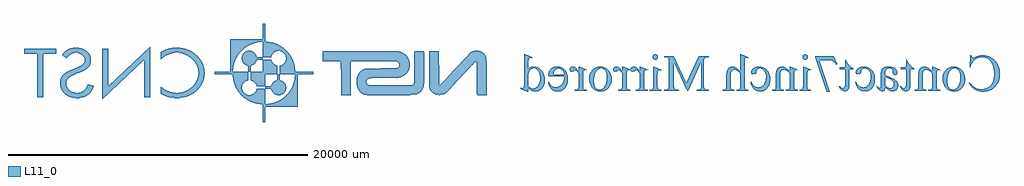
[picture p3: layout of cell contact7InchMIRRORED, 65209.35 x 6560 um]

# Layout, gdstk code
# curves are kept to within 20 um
import gdstk
lib = gdstk.Library(unit=1e-6, precision=1e-09)
def P(c, l, *ps):  # polygons
    for p in ps: c.add(gdstk.Polygon(p, *l))
L11_0 = (11, 0)

contact7inchmirrored = lib.new_cell('contact7InchMIRRORED')
P(contact7inchmirrored, L11_0, [(-12388.82,-83900),(-12388.82,-83838.469),(-12200.401,-83791.371),(-12128.066,-83671.93),(-12115.383,-82784.031),(-12308.914,-82527.684),(-12361.31,-82522.826),(-12521.906,-82622.322),(-12615.042,-82634.179),(-12710.746,-82566.569),(-12731.897,-82441.646),(-12623.509,-82310.785),(-12441.513,-82300.799),(-12264.223,-82425.946),(-12115.383,-82640.484),(-12115.383,-82288.422),(-12043.602,-82288.422),(-11570.211,-82479.828),(-11587.305,-82541.359),(-11706.93,-82515.719),(-11795.052,-82553.375),(-11832.704,-82818.379),(-11824.852,-83713.719),(-11749.551,-83809.686),(-11587.305,-83838.469),(-11587.305,-83900)],
  [(-10654.195,-83947.859),(-10861.199,-83920.514),(-11066.638,-83826.516),(-10597.251,-83802.316),(-10462.99,-83709.389),(-10353.197,-83547.368),(-10259.793,-83270.191),(-10234.67,-82937.334),(-10276.963,-82677.143),(-10374.358,-82505.132),(-10574.672,-82402.88),(-10791.34,-82440.531),(-10951.067,-82594.179),(-11063.926,-82847.266),(-11108.789,-83219.828),(-11066.73,-83559.621),(-11014.156,-83671.939),(-10928.149,-83761.895),(-10727.68,-83826.516),(-11066.638,-83826.516),(-11170.079,-83741.541),(-11349.452,-83460.014),(-11425.073,-83140.865),(-11391.648,-82839.628),(-11243.789,-82558.453),(-11028.553,-82373.861),(-10716.878,-82289.477),(-10437.471,-82328.144),(-10182.609,-82481.995),(-9997.692,-82757.794),(-9917.583,-83078.876),(-9959.922,-83413.793),(-10118.573,-83700.022),(-10372.458,-83893.886)],
  [(-9472.82,-83900),(-9472.82,-83838.469),(-9284.401,-83791.371),(-9212.066,-83671.93),(-9199.383,-82784.031),(-9392.914,-82527.684),(-9445.31,-82522.826),(-9605.906,-82622.322),(-9699.042,-82634.179),(-9794.746,-82566.569),(-9815.897,-82441.646),(-9707.509,-82310.785),(-9525.513,-82300.799),(-9348.223,-82425.946),(-9199.383,-82640.484),(-9199.383,-82288.422),(-9127.602,-82288.422),(-8654.211,-82479.828),(-8671.305,-82541.359),(-8790.93,-82515.719),(-8879.052,-82553.375),(-8916.704,-82818.379),(-8908.852,-83713.719),(-8833.551,-83809.686),(-8671.305,-83838.469),(-8671.305,-83900)],
  [(-8306.82,-83900),(-8306.82,-83838.469),(-8118.401,-83791.371),(-8046.066,-83671.93),(-8033.383,-82784.031),(-8226.914,-82527.684),(-8279.31,-82522.826),(-8439.906,-82622.322),(-8533.042,-82634.179),(-8628.746,-82566.569),(-8649.897,-82441.646),(-8541.509,-82310.785),(-8359.513,-82300.799),(-8182.223,-82425.946),(-8033.383,-82640.484),(-8033.383,-82288.422),(-7961.602,-82288.422),(-7488.211,-82479.828),(-7505.305,-82541.359),(-7624.93,-82515.719),(-7713.052,-82553.375),(-7750.704,-82818.379),(-7742.852,-83713.719),(-7667.551,-83809.686),(-7505.305,-83838.469),(-7505.305,-83900)],
  [(-7380.961,-83900),(-7380.961,-83838.469),(-7228,-83814.547),(-7155.429,-83711.428),(-7143.414,-82288.422),(-7068.211,-82288.422),(-6596.539,-82479.828),(-6620.461,-82541.359),(-6736.664,-82515.719),(-6818.697,-82549.852),(-6858.75,-82826.864),(-6846.734,-83711.262),(-6774.266,-83816.258),(-6620.461,-83838.469),(-6620.461,-83900)],
  [(13.289,-83947.859),(-226.134,-83895.136),(-417.754,-83759.84),(-549.393,-83578.92),(-642.961,-83305.266),(-593.398,-83281.344),(-480.309,-83489.767),(-376.681,-83593.586),(-151.095,-83679.461),(1.277,-83667.845),(123.095,-83613.388),(308.706,-83384.031),(386.089,-83140.765),(390.872,-82841.174),(321.661,-82619.861),(189.436,-82462.698),(27.63,-82404.898),(-147.03,-82431.768),(-227.029,-82519.139),(-280.534,-82734.735),(-370.935,-82800.538),(-506.455,-82799.631),(-588.057,-82723.15),(-584.004,-82583.078),(-484.691,-82441.313),(-326.797,-82336.154),(-154.081,-82292.718),(147.887,-82320.867),(400.496,-82465.066),(590.598,-82711.645),(668.662,-82985.439),(648.505,-83382.713),(524.604,-83665.549),(291.593,-83877.021)],
  [(811.383,-83900),(811.383,-83838.469),(966.047,-83814.547),(1037.192,-83715.433),(1060.047,-82693.457),(1117.936,-82495.267),(1212.734,-82369.825),(1393.836,-82292.427),(1582.033,-82309.144),(1777.577,-82417.932),(1980.336,-82619.969),(1980.336,-82288.422),(2053.82,-82288.422),(2525.492,-82479.828),(2499.867,-82541.359),(2385.367,-82515.719),(2302.046,-82551.503),(2263.121,-82837.974),(2278.675,-83716.804),(2346.523,-83814.772),(2499.867,-83838.469),(2499.867,-83900),(1725.695,-83900),(1725.695,-83838.469),(1895.734,-83815.398),(1969.763,-83716.385),(1980.336,-82720.797),(1778.25,-82554.168),(1575.305,-82498.625),(1420.695,-82552.941),(1354.328,-82684.071),(1333.06,-83606.906),(1379.999,-83786.512),(1460.16,-83830.139),(1585.555,-83838.469),(1585.555,-83900)],
  [(2631.039,-83900),(2631.039,-83838.469),(2784,-83814.547),(2856.571,-83711.428),(2868.586,-82288.422),(2943.789,-82288.422),(3415.461,-82479.828),(3391.539,-82541.359),(3275.336,-82515.719),(3193.303,-82549.852),(3153.25,-82826.864),(3165.266,-83711.262),(3237.734,-83816.258),(3391.539,-83838.469),(3391.539,-83900)],
  [(7010.289,-83947.859),(6770.866,-83895.136),(6579.246,-83759.84),(6447.607,-83578.92),(6354.039,-83305.266),(6403.602,-83281.344),(6516.691,-83489.767),(6620.319,-83593.586),(6845.905,-83679.461),(6998.277,-83667.845),(7120.095,-83613.388),(7305.706,-83384.031),(7383.089,-83140.765),(7387.872,-82841.174),(7318.661,-82619.861),(7186.436,-82462.698),(7024.63,-82404.898),(6849.97,-82431.768),(6769.971,-82519.139),(6716.466,-82734.735),(6626.065,-82800.538),(6490.545,-82799.631),(6408.943,-82723.15),(6412.996,-82583.078),(6512.309,-82441.313),(6670.203,-82336.154),(6842.919,-82292.718),(7144.887,-82320.867),(7397.496,-82465.066),(7587.598,-82711.645),(7665.662,-82985.439),(7645.505,-83382.713),(7521.604,-83665.549),(7288.593,-83877.021)],
  [(8848.695,-83932.469),(8652.164,-83889.75),(8428.131,-83734.234),(8715.04,-83732.966),(8841.936,-83672.081),(8929.555,-83507.735),(8901.462,-83311.367),(8715.466,-83131.064),(8349.664,-82966.891),(8349.664,-83563.328),(8541.074,-83691.508),(8691.461,-83734.234),(8428.131,-83734.234),(8349.664,-83674.406),(8298.398,-83872.656),(8223.097,-83922.594),(8143.246,-83929.764),(7963.591,-83849.652),(7799.383,-83674.406),(7799.383,-83578.703),(7948.482,-83708.698),(8009.793,-83711.15),(8047.822,-83672.918),(8084.985,-82570.621),(8159.547,-82426.426),(8318.481,-82327.841),(8588.93,-82288.422),(8856.224,-82327.355),(9046.287,-82442.604),(9146.743,-82591.972),(9145.744,-82764.936),(9087.911,-82829.907),(9017.883,-82847.266),(8946.388,-82830.576),(8895.209,-82780.933),(8859.805,-82513.16),(8736.758,-82407.199),(8605.789,-82394.034),(8489.258,-82426.717),(8415.005,-82491.297),(8368.25,-82603.73),(8349.664,-82862.641),(8968.203,-83138.012),(9128.483,-83273.659),(9201.226,-83398.036),(9219.615,-83573.347),(9162.134,-83761.461),(9029.268,-83889.076)],
  [(10333.383,-83900),(10333.383,-83838.469),(10488.047,-83814.547),(10559.192,-83715.433),(10582.047,-82693.457),(10639.936,-82495.267),(10734.734,-82369.825),(10915.836,-82292.427),(11104.033,-82309.144),(11299.577,-82417.932),(11502.336,-82619.969),(11502.336,-82288.422),(11575.82,-82288.422),(12047.492,-82479.828),(12021.867,-82541.359),(11907.367,-82515.719),(11824.046,-82551.503),(11785.121,-82837.974),(11800.675,-83716.804),(11868.523,-83814.772),(12021.867,-83838.469),(12021.867,-83900),(11247.695,-83900),(11247.695,-83838.469),(11417.734,-83815.398),(11491.763,-83716.385),(11502.336,-82720.797),(11300.25,-82554.168),(11097.305,-82498.625),(10942.695,-82552.941),(10876.328,-82684.071),(10855.06,-83606.906),(10901.999,-83786.512),(10982.16,-83830.139),(11107.555,-83838.469),(11107.555,-83900)],
  [(12961.805,-83947.859),(12754.801,-83920.514),(12549.362,-83826.516),(13018.749,-83802.316),(13153.01,-83709.389),(13262.803,-83547.368),(13356.207,-83270.191),(13381.33,-82937.334),(13339.037,-82677.143),(13241.642,-82505.132),(13041.328,-82402.88),(12824.66,-82440.531),(12664.933,-82594.179),(12552.074,-82847.266),(12507.211,-83219.828),(12549.27,-83559.621),(12601.844,-83671.939),(12687.851,-83761.895),(12888.32,-83826.516),(12549.362,-83826.516),(12445.921,-83741.541),(12266.548,-83460.014),(12190.927,-83140.865),(12224.352,-82839.628),(12372.211,-82558.453),(12587.447,-82373.861),(12899.122,-82289.477),(13178.529,-82328.144),(13433.391,-82481.995),(13618.308,-82757.794),(13698.417,-83078.876),(13656.078,-83413.793),(13497.427,-83700.022),(13243.542,-83893.886)],
  [(-13527.477,-83947.859),(-13738.088,-83911.059),(-13937.928,-83778.876),(-14084.703,-83579.349),(-14168.336,-83329.203),(-14115.367,-83295.016),(-14029.275,-83469.973),(-13895.773,-83604.514),(-13657.352,-83669.281),(-13518.995,-83649.922),(-13392.323,-83591.846),(-13277.337,-83495.052),(-13181.078,-83362.523),(-13109.541,-83164.494),(-13086.555,-82924.172),(-14168.336,-82924.172),(-14162.942,-82825.047),(-13086.555,-82825.047),(-13128.637,-82650.092),(-13217.289,-82518.289),(-13336.703,-82435.619),(-13471.07,-82408.062),(-13605.172,-82438.824),(-13722.084,-82527.691),(-13787.771,-82649.453),(-13811.164,-82825.047),(-14162.942,-82825.047),(-14102.247,-82606.738),(-13977.633,-82439.175),(-13806.461,-82330.084),(-13599.305,-82287.396),(-13282.018,-82342.902),(-13049.812,-82511.453),(-12895.365,-82780.406),(-12844.687,-83088.287),(-12882.318,-83433.338),(-13020.371,-83700.208),(-13265.787,-83892.957)],
  [(5657.242,-83925.641),(5514.656,-83892.593),(5405.094,-83818.594),(5262.461,-83588.969),(5329.117,-83588.969),(5398.276,-83683.081),(5506.479,-83726.843),(5596.292,-83706.697),(5659.016,-83620.741),(5676.039,-82454.203),(5310.32,-82454.203),(5310.32,-82334.562),(5676.039,-82334.562),(5676.039,-81820.172),(5729.023,-81820.172),(5899.082,-82145.317),(6038.07,-82292.1),(6205.82,-82397.797),(6205.82,-82454.203),(5958.023,-82454.203),(5944.004,-83684.041),(5846.188,-83857.913)],
  [(9735.242,-83925.641),(9592.656,-83892.593),(9483.094,-83818.594),(9340.461,-83588.969),(9407.117,-83588.969),(9476.276,-83683.081),(9584.479,-83726.843),(9674.292,-83706.697),(9737.016,-83620.741),(9754.039,-82454.203),(9388.32,-82454.203),(9388.32,-82334.562),(9754.039,-82334.562),(9754.039,-81820.172),(9807.023,-81820.172),(9977.082,-82145.317),(10116.07,-82292.1),(10283.82,-82397.797),(10283.82,-82454.203),(10036.023,-82454.203),(10022.004,-83684.041),(9924.188,-83857.913)],
  [(-6420.57,-83900),(-6420.57,-83836.766),(-6248.037,-83826.671),(-6140.289,-83764.984),(-6092.445,-83498.391),(-6101.844,-81824.441),(-6166.251,-81695.836),(-6271.353,-81651.398),(-6420.57,-81645.844),(-6420.57,-81582.609),(-5764.32,-81582.609),(-4937.164,-83395.844),(-4096.352,-81582.609),(-3440.102,-81582.609),(-3440.102,-81645.844),(-3609.128,-81664.591),(-3719.568,-81738.296),(-3768.227,-81984.234),(-3758.828,-83658.184),(-3694.527,-83786.782),(-3590.277,-83831.212),(-3440.102,-83836.766),(-3440.102,-83900),(-4246.742,-83900),(-4246.742,-83836.766),(-4000.968,-83796.389),(-3930.152,-83671.852),(-3918.617,-81950.047),(-4814.117,-83900),(-4870.523,-83900),(-5764.32,-81950.047),(-5754.922,-83658.184),(-5691.26,-83786.782),(-5587.01,-83831.212),(-5436.195,-83836.766),(-5436.195,-83900)],
  [(4445.992,-83947.859),(3673.523,-81647.562),(3673.523,-81582.609),(4915.961,-81582.609),(5138.117,-82131.203),(5088.57,-82150),(4957.584,-81978.302),(4780.708,-81879.211),(3945.258,-81861.187),(4637.398,-83947.859)],
  [(14897.617,-83952.984),(14599.828,-83917.096),(14345.617,-83809.43),(14127.719,-83624.432),(13938.867,-83356.547),(13991.852,-83322.359),(14282.802,-83645.841),(14557.098,-83778.453),(14769.445,-83802.594),(14956.218,-83785.29),(15280.757,-83647.103),(15493.675,-83408.515),(15610.689,-83074.129),(15629.223,-82597.859),(15554.12,-82209.201),(15437.801,-81970.488),(15258.967,-81784.927),(15038.602,-81681.953),(14751.435,-81655.117),(14505.773,-81713.436),(14323.108,-81828.417),(14154.882,-82045.886),(14044.836,-82317.484),(13991.852,-82317.484),(14044.836,-81529.641),(14104.648,-81529.641),(14157.174,-81645.717),(14236.847,-81689.774),(14534.986,-81577.706),(14783.638,-81531.563),(15043.288,-81545.245),(15302.478,-81619.522),(15508.239,-81731.42),(15685.24,-81881.902),(15829.315,-82069.154),(15952.034,-82326.829),(16015.819,-82607.26),(16017.248,-82934.734),(15950.917,-83226.007),(15844.971,-83444.503),(15662.004,-83670.933),(15463.338,-83817.8),(15232.201,-83911.261)],
  [(-15560.695,-83947.859),(-16025.539,-83754.734),(-16006.742,-83694.922),(-15832.587,-83710.513),(-15773.88,-83596.934),(-15764.07,-81469.828),(-15687.164,-81469.828),(-15220.602,-81661.234),(-15242.82,-81721.047),(-15380.396,-81695.092),(-15461.948,-81771.359),(-15482.086,-82418.312),(-15350.211,-82328.356),(-15190.863,-82288.775),(-14981.248,-82304.183),(-14803.774,-82375.13),(-14649.999,-82500.651),(-14523.107,-82672.936),(-14436.189,-82859.871),(-14386.522,-83098.949),(-14395.174,-83342.918),(-14443.773,-83522.314),(-14529.756,-83677.845),(-14674.379,-83827.212),(-14839.241,-83917.698),(-14990.578,-83947.022),(-15173.776,-83927.498),(-15340.963,-83847.146),(-15446.074,-83759.859),(-15069.282,-83741.919),(-14846.336,-83576.148),(-14733.543,-83352.061),(-14696.533,-83089.74),(-14734.824,-82746.437),(-14881.449,-82496.043),(-15082.683,-82394.781),(-15201.168,-82404.85),(-15305.323,-82454.295),(-15420.555,-82585.797),(-15478.879,-82768.973),(-15482.086,-83604.344),(-15334.258,-83720.98),(-15181.305,-83759.859),(-15446.074,-83759.859),(-15482.086,-83723.969),(-15482.086,-83947.859)],
  [(-7001.555,-81816.75),(-7123.75,-81765.477),(-7174.164,-81642.437),(-7123.75,-81520.242),(-7001.555,-81469.828),(-6877.656,-81520.242),(-6827.242,-81642.437),(-6878.516,-81765.477)],
  [(-2484.773,-83900),(-2484.773,-83838.469),(-2334.383,-83814.547),(-2265.808,-83716.391),(-2244.234,-82747.289),(-2219.883,-82592.625),(-2142.847,-82428.807),(-1972.937,-82306.795),(-1765.721,-82296.713),(-1566.414,-82386.209),(-1326.086,-82614.844),(-1326.086,-81469.828),(-1247.477,-81469.828),(-779.211,-81661.234),(-803.133,-81721.047),(-919.352,-81693.703),(-1002.657,-81729.488),(-1041.597,-82008.259),(-1037.271,-83668.436),(-997.963,-83781.229),(-803.133,-83838.469),(-803.133,-83900),(-1579.008,-83900),(-1579.008,-83838.469),(-1410.68,-83811.984),(-1336.18,-83718.958),(-1326.086,-82719.094),(-1519.922,-82552.171),(-1717.445,-82495.219),(-1871.61,-82546.042),(-1948.381,-82678.692),(-1968.664,-83546.234),(-1963.539,-83706.891),(-1932.159,-83775.712),(-1862.301,-83825.453),(-1715.727,-83838.469),(-1715.727,-83900)],
  [(3010.445,-81816.75),(2888.25,-81765.477),(2837.836,-81642.437),(2888.25,-81520.242),(3010.445,-81469.828),(3134.344,-81520.242),(3184.758,-81642.437),(3133.484,-81765.477)],
  [(-32172.008,-84191.406),(-32340.453,-84162.18),(-32489.205,-84077.914),(-32600.873,-83948.461),(-32664.578,-83776.406),(-33072.008,-83776.406),(-33072.008,-83606.406),(-32664.578,-83606.406),(-32612.969,-83455.711),(-32525.561,-83337.852),(-32407.707,-83250.445),(-32257.008,-83198.836),(-32257.008,-82791.406),(-32087.008,-82791.406),(-32087.008,-83198.836),(-31936.309,-83250.445),(-31801.533,-83355.625),(-31710.068,-83500.062),(-31672.609,-83666.875),(-31710.068,-83882.75),(-31818.455,-84044.961),(-31980.666,-84153.344)],
  [(-33639.437,-83606.406),(-33691.047,-83455.711),(-33778.453,-83337.852),(-33896.309,-83250.445),(-34047.008,-83198.836),(-34047.008,-82631.406),(-33232.008,-82631.406),(-33232.008,-81816.406),(-32664.578,-81816.406),(-32612.969,-81967.102),(-32525.561,-82084.961),(-32407.707,-82172.367),(-32257.008,-82223.977),(-32257.008,-82791.406),(-33072.008,-82791.406),(-33072.008,-83606.406)],
  [(-25325.922,-84188.82),(-26354.273,-84174.123),(-26515.546,-84121.77),(-26667.68,-84021.019),(-26839.773,-83804.999),(-26939.165,-83524.257),(-26947.74,-83112.769),(-26863.589,-82846.25),(-26660.34,-82587.553),(-26366.405,-82432.564),(-24289.412,-82402.586),(-24157.676,-82316.808),(-24103.505,-82210.014),(-24123.393,-82084.399),(-24218.093,-81973.108),(-24286.252,-81926.508),(-27356.252,-81926.508),(-27364.252,-84181.953),(-27988.611,-84181.953),(-28004.252,-81934.312),(-29225.49,-81914.469),(-29212.7,-81271.036),(-24302.72,-81268.2),(-24103.735,-81293.231),(-23881.286,-81377.714),(-23694.083,-81500.161),(-23564.616,-81647.513),(-23463.404,-81857.364),(-23416.361,-82088.073),(-23424.059,-82306.783),(-23482.616,-82507.478),(-23596.374,-82682.272),(-23761.596,-82839.61),(-24008.899,-82985.06),(-24182.658,-83038.965),(-26087.708,-83082.056),(-26228.023,-83114.228),(-26291.622,-83217.905),(-26290.923,-83395.575),(-26157.925,-83526.389),(-24713.611,-83541.953),(-23422.709,-83534.986),(-23150.892,-83489.13),(-23122.137,-83270.738),(-23086.594,-81283.001),(-22894.474,-81257.337),(-22470.498,-81271.034),(-22460.835,-83431.18),(-22509.957,-83684.296),(-22663.035,-83922.053),(-22886.226,-84084.005),(-23153.681,-84171.677)],
  [(-18591.252,-84189.789),(-18856.533,-84184.928),(-18913.192,-84154.467),(-18932.964,-82089.458),(-18945.239,-81956.485),(-18986.745,-81936.421),(-20982.145,-84027.725),(-21211.448,-84143.913),(-21436.429,-84182.207),(-21667.778,-84137.9),(-21875.877,-84020.486),(-22001.61,-83885.625),(-22104.252,-83698.07),(-22093.542,-81268.997),(-21588.774,-81257.967),(-21473.634,-81294.425),(-21452.417,-83340.264),(-21423.847,-83530.492),(-21330.28,-83468.449),(-19323.85,-81333.841),(-19126.419,-81248.34),(-18867.998,-81235.215),(-18690.229,-81275.567),(-18506.313,-81384.864),(-18357.035,-81560.994),(-18289.652,-81758.647),(-18278.09,-84152.405),(-18318.577,-84182.823)],
  [(-34217.008,-82631.406),(-34217.008,-82223.977),(-34389.059,-82160.273),(-34533.613,-82029.258),(-34617.023,-81852.898),(-34629.602,-81682.398),(-34572.969,-81495.711),(-34449.203,-81344.898),(-34277.148,-81252.937),(-34083,-81233.812),(-33918.23,-81279.414),(-33796.227,-81360.93),(-33691.047,-81495.711),(-33639.437,-81646.406),(-33232.008,-81646.406),(-33232.008,-81816.406),(-33639.437,-81816.406),(-33691.047,-81967.102),(-33778.453,-82084.961),(-33896.309,-82172.367),(-34047.008,-82223.977),(-34047.008,-82631.406)],
  [(-48308.969,-84332.508),(-48308.969,-81417.828),(-49183.809,-81417.828),(-49183.809,-81081.75),(-47043.969,-81081.75),(-47043.969,-81417.828),(-47909.406,-81417.828),(-47909.406,-84332.508)],
  [(-45646.008,-84388.469),(-46072.207,-84316.152),(-46433.426,-84108.057),(-46572.911,-83961.897),(-46678.967,-83792.374),(-46745.575,-83609.205),(-46772.274,-83417.252),(-46712.013,-83067.085),(-46626.413,-82920.188),(-46502.534,-82789.466),(-46184.843,-82588.559),(-45379.093,-82237.907),(-45227.082,-82124.375),(-45139.719,-81998.098),(-45115.925,-81818.31),(-45176.999,-81633.867),(-45312.086,-81486.343),(-45500.696,-81392.426),(-45743.057,-81362.496),(-45984.063,-81408.371),(-46168.626,-81522.933),(-46326.008,-81715.469),(-46644.727,-81530.023),(-46481.764,-81322.531),(-46274.281,-81166.433),(-46029.544,-81066.166),(-45764.078,-81026.471),(-45533.505,-81038.721),(-45313.857,-81091.417),(-45116.751,-81181.869),(-44950.211,-81307.282),(-44827.902,-81455.809),(-44748.674,-81625.628),(-44715.176,-81812.501),(-44729.493,-82011.156),(-44834.952,-82254.777),(-45040.323,-82453.376),(-45321.821,-82610.794),(-45992.31,-82895.579),(-46237.733,-83067.839),(-46326.743,-83196.247),(-46368.736,-83342.214),(-46366.564,-83506.665),(-46316.12,-83664.924),(-46198.177,-83828.413),(-46024.131,-83956.43),(-45813.49,-84033.251),(-45583.128,-84050.419),(-45346.57,-83995.594),(-45146.868,-83869.765),(-44994.915,-83676.264),(-44918.488,-83448.75),(-44528.488,-83547.828),(-44670.391,-83891.955),(-44918.881,-84160.72),(-45250.512,-84329.878)],
  [(-38988.801,-84388.469),(-39273.234,-84367.094),(-39550.687,-84304.893),(-39814.821,-84204.749),(-40058.969,-84069.547),(-40058.969,-83621.109),(-39696.998,-83871.105),(-39283.674,-84019.17),(-38872.02,-84048.62),(-38457.753,-83961.477),(-38076.357,-83756.841),(-37777.994,-83460.587),(-37584.993,-83096.977),(-37519.566,-82707.062),(-37587.193,-82309.408),(-37781.165,-81946.878),(-38079.381,-81652.156),(-38459.714,-81449.535),(-38872.327,-81364.756),(-39298.495,-81397.431),(-39704.906,-81543.48),(-40058.969,-81793.148),(-40058.969,-81344.703),(-39813.556,-81203.943),(-39554.333,-81104.36),(-39279.968,-81045.18),(-38989.129,-81025.625),(-38625.291,-81058.14),(-38274.246,-81155.409),(-37955.73,-81310.499),(-37669.468,-81523.617),(-37434.413,-81783.168),(-37263.356,-82071.97),(-37156.07,-82390.274),(-37120.207,-82720.187),(-37156.611,-83046.497),(-37260.862,-83351.213),(-37431.75,-83636.676),(-37666.725,-83893.128),(-37952.464,-84103.821),(-38279.987,-84261.436),(-38629.002,-84356.667)],
  [(-43953.328,-84479.062),(-43953.328,-81081.75),(-43553.809,-81081.75),(-43553.809,-83599.547),(-40757.848,-80943.75),(-40757.848,-84332.508),(-41157.246,-84332.508),(-41157.246,-81827.508)],
  [(-33232.008,-85991.406),(-33232.008,-84791.406),(-32875.973,-84781.773),(-32538.582,-84718.961),(-32239.148,-84609.742),(-31940.545,-84440.586),(-31675.256,-84222.867),(-31465.592,-83982.805),(-31285.559,-83690.633),(-31158.127,-83371.977),(-31093.654,-83084.867),(-31072.008,-82791.406),(-32087.008,-82791.406),(-32087.008,-82223.977),(-31936.309,-82172.367),(-31818.455,-82084.961),(-31731.047,-81967.102),(-31681.615,-81828.953),(-31693.537,-81586.266),(-31818.455,-81377.852),(-32026.865,-81252.937),(-32269.553,-81241.016),(-32407.707,-81290.445),(-32525.561,-81377.852),(-32612.969,-81495.711),(-32664.578,-81646.406),(-33232.008,-81646.406),(-33232.008,-80631.406),(-33573.93,-80660.852),(-34064.867,-80813.07),(-34519.672,-81101.07),(-34867.176,-81479.789),(-35106.687,-81934.57),(-35198.219,-82265.328),(-35232.008,-82631.406),(-34217.008,-82631.406),(-34217.008,-83198.836),(-34467.789,-83320.93),(-34560.871,-83434.352),(-34617.023,-83569.914),(-34622.402,-83788.953),(-34533.613,-83989.258),(-34323.348,-84153.344),(-34058.641,-84185.992),(-33896.309,-84132.367),(-33778.453,-84044.961),(-33691.047,-83927.102),(-33639.437,-83776.406),(-33072.008,-83776.406),(-33072.008,-84791.406),(-33516.637,-84771.047),(-33897.379,-84677.484),(-34252.547,-84511.437),(-34594.844,-84255.195),(-34874.848,-83932.055),(-35065.812,-83589.633),(-35186.301,-83216.539),(-35232.008,-82791.406),(-36432.008,-82791.406),(-36432.008,-82631.406),(-35412.008,-82631.406),(-35412.008,-80451.406),(-33232.008,-80451.406),(-33232.008,-79431.406),(-33072.008,-79431.406),(-33072.008,-80631.406),(-32681.828,-80669.836),(-32306.641,-80783.648),(-31960.867,-80968.469),(-31657.795,-81217.195),(-31409.068,-81520.266),(-31224.248,-81866.039),(-31110.437,-82241.227),(-31072.008,-82631.406),(-29872.008,-82631.406),(-29872.008,-82791.406),(-30892.008,-82791.406),(-30892.008,-84971.406),(-33072.008,-84971.406),(-33072.008,-85991.406)])

lib.write_gds('contact7InchMIRRORED.gds')
